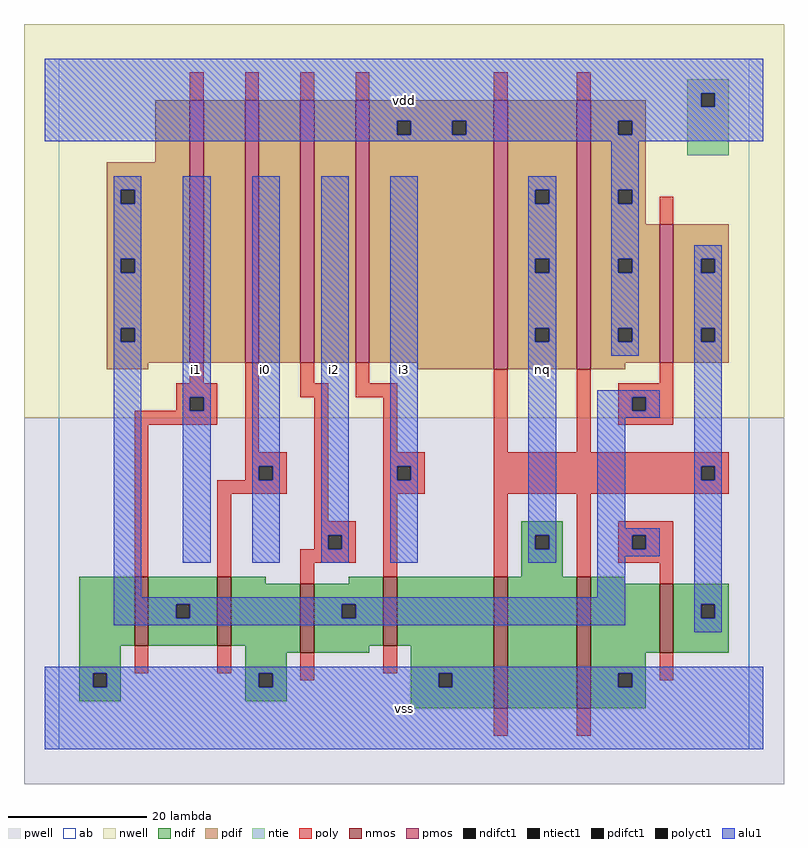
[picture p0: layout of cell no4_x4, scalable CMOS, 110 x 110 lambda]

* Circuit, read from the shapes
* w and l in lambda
.subckt no4_x4 i0 i1 i2 i3 nq vdd vss
M1 n1 i1 vss VSUBS nfet w=10 l=2
M2 vss i0 n1 VSUBS nfet w=10 l=2
M3 n1 i2 vss VSUBS nfet w=10 l=2
M4 vss i3 n1 VSUBS nfet w=10 l=2
M5 nq n2 vss VSUBS nfet w=19 l=2 m=2
M6 n2 n1 vss VSUBS nfet w=10 l=2
M7 n3 i1 n1 vdd pfet w=38 l=2
M8 n4 i0 n3 vdd pfet w=38 l=2
M9 n5 i2 n4 vdd pfet w=38 l=2
M10 vdd i3 n5 vdd pfet w=38 l=2
M11 nq n2 vdd vdd pfet w=39 l=2 m=2
M12 n2 n1 vdd vdd pfet w=20 l=2
.ends

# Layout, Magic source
magic
tech scmos
<< ab >>
rect 0 0 100 100
<< nwell >>
rect -5 48 105 105
<< pwell >>
rect -5 -5 105 48
<< poly >>
rect 19 94 21 98
rect 27 94 29 98
rect 35 94 37 98
rect 43 94 45 98
rect 63 94 65 98
rect 75 94 77 98
rect 19 53 21 56
rect 17 51 23 53
rect 17 49 19 51
rect 21 49 23 51
rect 11 47 23 49
rect 11 25 13 47
rect 27 43 29 56
rect 35 53 37 56
rect 43 53 45 56
rect 87 76 89 80
rect 35 51 39 53
rect 43 51 49 53
rect 27 41 33 43
rect 27 39 29 41
rect 31 39 33 41
rect 23 37 33 39
rect 23 25 25 37
rect 37 33 39 51
rect 47 43 49 51
rect 63 43 65 55
rect 75 43 77 55
rect 87 53 89 56
rect 81 51 89 53
rect 81 49 83 51
rect 85 49 89 51
rect 81 47 89 49
rect 47 41 53 43
rect 47 39 49 41
rect 51 39 53 41
rect 47 37 53 39
rect 63 41 97 43
rect 63 39 93 41
rect 95 39 97 41
rect 63 37 97 39
rect 37 31 43 33
rect 37 29 39 31
rect 41 29 43 31
rect 35 27 43 29
rect 35 24 37 27
rect 47 25 49 37
rect 63 25 65 37
rect 75 25 77 37
rect 81 31 89 33
rect 81 29 83 31
rect 85 29 89 31
rect 81 27 89 29
rect 11 11 13 15
rect 23 11 25 15
rect 35 10 37 14
rect 47 11 49 15
rect 87 24 89 27
rect 87 10 89 14
rect 63 2 65 6
rect 75 2 77 6
<< ndif >>
rect 3 15 11 25
rect 13 21 23 25
rect 13 19 17 21
rect 19 19 23 21
rect 13 15 23 19
rect 25 24 30 25
rect 67 31 73 33
rect 67 29 69 31
rect 71 29 73 31
rect 67 25 73 29
rect 42 24 47 25
rect 25 15 35 24
rect 3 11 9 15
rect 27 14 35 15
rect 37 21 47 24
rect 37 19 41 21
rect 43 19 47 21
rect 37 15 47 19
rect 49 15 63 25
rect 37 14 45 15
rect 27 11 33 14
rect 3 9 5 11
rect 7 9 9 11
rect 3 7 9 9
rect 27 9 29 11
rect 31 9 33 11
rect 51 11 63 15
rect 27 7 33 9
rect 51 9 55 11
rect 57 9 63 11
rect 51 6 63 9
rect 65 6 75 25
rect 77 24 82 25
rect 77 14 87 24
rect 89 21 97 24
rect 89 19 93 21
rect 95 19 97 21
rect 89 14 97 19
rect 77 11 85 14
rect 77 9 81 11
rect 83 9 85 11
rect 77 6 85 9
<< pdif >>
rect 14 85 19 94
rect 7 81 19 85
rect 7 79 9 81
rect 11 79 19 81
rect 7 71 19 79
rect 7 69 9 71
rect 11 69 19 71
rect 7 61 19 69
rect 7 59 9 61
rect 11 59 19 61
rect 7 56 19 59
rect 21 56 27 94
rect 29 56 35 94
rect 37 56 43 94
rect 45 91 63 94
rect 45 89 49 91
rect 51 89 57 91
rect 59 89 63 91
rect 45 56 63 89
rect 7 55 13 56
rect 52 55 63 56
rect 65 81 75 94
rect 65 79 69 81
rect 71 79 75 81
rect 65 71 75 79
rect 65 69 69 71
rect 71 69 75 71
rect 65 61 75 69
rect 65 59 69 61
rect 71 59 75 61
rect 65 55 75 59
rect 77 91 85 94
rect 77 89 81 91
rect 83 89 85 91
rect 77 81 85 89
rect 77 79 81 81
rect 83 79 85 81
rect 77 76 85 79
rect 77 71 87 76
rect 77 69 81 71
rect 83 69 87 71
rect 77 61 87 69
rect 77 59 81 61
rect 83 59 87 61
rect 77 56 87 59
rect 89 71 97 76
rect 89 69 93 71
rect 95 69 97 71
rect 89 61 97 69
rect 89 59 93 61
rect 95 59 97 61
rect 89 56 97 59
rect 77 55 82 56
<< alu1 >>
rect -2 95 102 100
rect -2 93 93 95
rect 95 93 102 95
rect -2 91 102 93
rect -2 89 49 91
rect 51 89 57 91
rect 59 89 81 91
rect 83 89 102 91
rect -2 88 102 89
rect 8 81 12 83
rect 8 79 9 81
rect 11 79 12 81
rect 8 71 12 79
rect 8 69 9 71
rect 11 69 12 71
rect 8 61 12 69
rect 8 59 9 61
rect 11 59 12 61
rect 8 22 12 59
rect 18 51 22 83
rect 18 49 19 51
rect 21 49 22 51
rect 18 27 22 49
rect 28 41 32 83
rect 28 39 29 41
rect 31 39 32 41
rect 28 27 32 39
rect 38 31 42 83
rect 38 29 39 31
rect 41 29 42 31
rect 38 27 42 29
rect 48 41 52 83
rect 48 39 49 41
rect 51 39 52 41
rect 48 27 52 39
rect 68 81 72 83
rect 68 79 69 81
rect 71 79 72 81
rect 68 71 72 79
rect 68 69 69 71
rect 71 69 72 71
rect 68 61 72 69
rect 68 59 69 61
rect 71 59 72 61
rect 68 31 72 59
rect 80 81 84 88
rect 80 79 81 81
rect 83 79 84 81
rect 80 71 84 79
rect 80 69 81 71
rect 83 69 84 71
rect 80 61 84 69
rect 80 59 81 61
rect 83 59 84 61
rect 80 57 84 59
rect 92 71 96 73
rect 92 69 93 71
rect 95 69 96 71
rect 92 61 96 69
rect 92 59 93 61
rect 95 59 96 61
rect 68 29 69 31
rect 71 29 72 31
rect 68 27 72 29
rect 78 51 87 52
rect 78 49 83 51
rect 85 49 87 51
rect 78 48 87 49
rect 78 32 82 48
rect 92 41 96 59
rect 92 39 93 41
rect 95 39 96 41
rect 78 31 87 32
rect 78 29 83 31
rect 85 29 87 31
rect 78 28 87 29
rect 78 22 82 28
rect 8 21 82 22
rect 8 19 17 21
rect 19 19 41 21
rect 43 19 82 21
rect 8 18 82 19
rect 92 21 96 39
rect 92 19 93 21
rect 95 19 96 21
rect 92 17 96 19
rect -2 11 102 12
rect -2 9 5 11
rect 7 9 29 11
rect 31 9 55 11
rect 57 9 81 11
rect 83 9 102 11
rect -2 0 102 9
<< ntie >>
rect 91 95 97 97
rect 91 93 93 95
rect 95 93 97 95
rect 91 86 97 93
<< nmos >>
rect 11 15 13 25
rect 23 15 25 25
rect 35 14 37 24
rect 47 15 49 25
rect 63 6 65 25
rect 75 6 77 25
rect 87 14 89 24
<< pmos >>
rect 19 56 21 94
rect 27 56 29 94
rect 35 56 37 94
rect 43 56 45 94
rect 63 55 65 94
rect 75 55 77 94
rect 87 56 89 76
<< polyct1 >>
rect 19 49 21 51
rect 29 39 31 41
rect 83 49 85 51
rect 49 39 51 41
rect 93 39 95 41
rect 39 29 41 31
rect 83 29 85 31
<< ndifct1 >>
rect 17 19 19 21
rect 69 29 71 31
rect 41 19 43 21
rect 5 9 7 11
rect 29 9 31 11
rect 55 9 57 11
rect 93 19 95 21
rect 81 9 83 11
<< ntiect1 >>
rect 93 93 95 95
<< pdifct1 >>
rect 9 79 11 81
rect 9 69 11 71
rect 9 59 11 61
rect 49 89 51 91
rect 57 89 59 91
rect 69 79 71 81
rect 69 69 71 71
rect 69 59 71 61
rect 81 89 83 91
rect 81 79 83 81
rect 81 69 83 71
rect 81 59 83 61
rect 93 69 95 71
rect 93 59 95 61
<< labels >>
rlabel alu1 20 55 20 55 6 i1
rlabel alu1 30 55 30 55 6 i0
rlabel alu1 40 55 40 55 6 i2
rlabel alu1 50 6 50 6 6 vss
rlabel alu1 50 55 50 55 6 i3
rlabel alu1 70 55 70 55 6 nq
rlabel alu1 50 94 50 94 6 vdd
<< end >>
